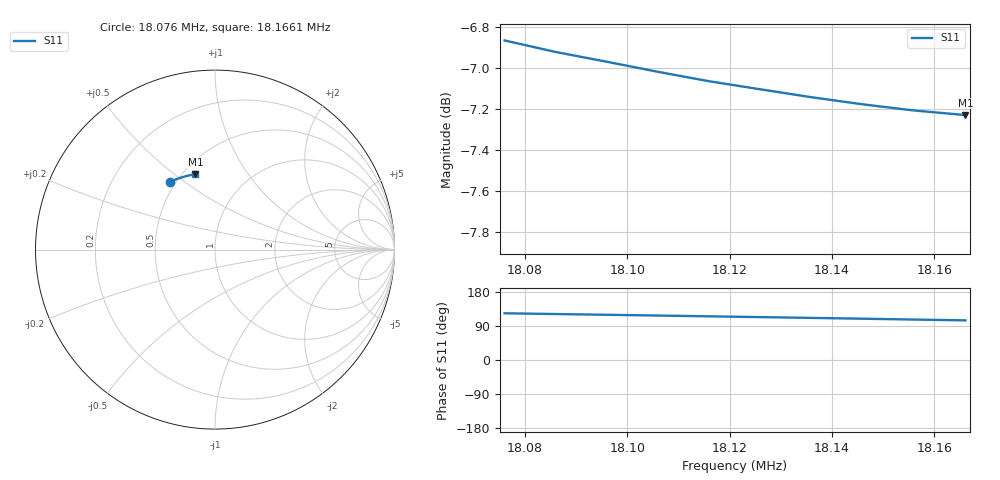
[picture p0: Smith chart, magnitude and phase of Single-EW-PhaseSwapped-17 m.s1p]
# HZ S RI R 50
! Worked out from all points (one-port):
!   10 points, 18.076 MHz to 18.1661 MHz, reference 50 ohm
!   lowest |S11| = -7.2 dB at 18.1661 MHz (marker M1), VSWR 2.54, Z = 28.8 + j29.9 ohm
!   |S11| at or under -10 dB: nowhere
1.807603e7  -0.249 0.3791
1.808603e7  -0.234 0.3852
1.809604e7  -0.2194 0.3908
1.810604e7  -0.2043 0.3961
1.811604e7  -0.1891 0.401
1.812605e7  -0.1737 0.4057
1.813605e7  -0.158 0.41
1.814606e7  -0.1422 0.4139
1.815606e7  -0.1255 0.4177
1.816606e7  -0.1095 0.421
